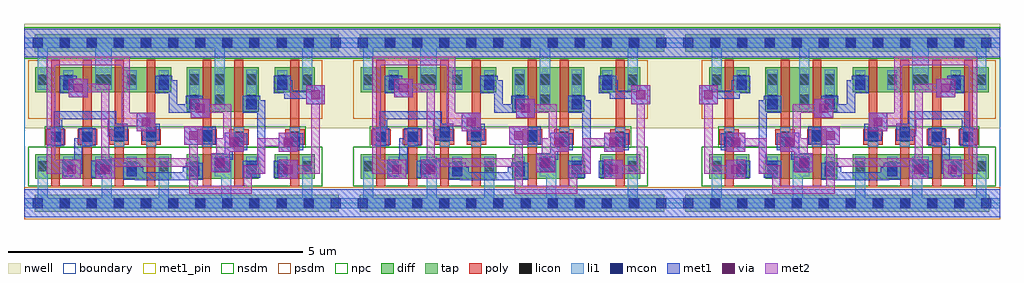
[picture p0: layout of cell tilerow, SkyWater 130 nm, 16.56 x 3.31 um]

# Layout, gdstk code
from math import pi, radians
import gdstk
lib = gdstk.Library(unit=1e-6, precision=1e-09)
def R(c, l, rs):  # rectangles x0, y0, x1, y1
    for r in rs: c.add(gdstk.rectangle(r[:2], r[2:], *l))
def A(c, l, x, y, w, h, nx, ny, dx, dy):  # array of equal rectangles
    R(c, l, [(x+i*dx, y+j*dy, x+i*dx+w, y+j*dy+h) for i in range(nx) for j in range(ny)])
nwell = (64, 20)
diff = (65, 20)
tap = (65, 44)
poly = (66, 20)
licon = (66, 44)
li1 = (67, 20)
mcon = (67, 44)
met1_pin = (68, 16)
met1 = (68, 20)
via = (68, 44)
met2 = (69, 20)
nsdm = (93, 44)
psdm = (94, 20)
npc = (95, 20)
boundary = (235, 4)

c_ha = lib.new_cell('ha')
R(c_ha, nwell, [(0,1.275,5.52,3.045)])
R(c_ha, diff, [(0.195,0.415,1.415,0.835), (1.275,0.415,2.495,0.835), (2.765,0.415,3.445,0.835), (3.305,0.415,3.985,0.835), (4.255,0.415,4.935,0.835), (2.765,1.555,3.985,2.305), (0.195,1.885,1.415,2.305), (1.275,1.885,2.495,2.305), (4.255,1.885,4.935,2.305)])
R(c_ha, tap, [(0.18,-0.145,5.34,0.145), (0.18,2.575,5.34,2.865)])
A(c_ha, poly, 0.46, 0.285, 0.15, 2.15, 4, 1, 0.54, 0)
A(c_ha, poly, 0.37, 0.99, 0.33, 0.27, 4, 1, 0.54, 0)
R(c_ha, poly, [(3.03,0.285,3.18,2.435), (3.57,0.285,3.72,2.435), (4.52,0.285,4.67,2.435), (2.94,0.99,3.27,1.26), (3.48,0.99,3.81,1.26), (4.43,0.99,4.76,1.26)])
A(c_ha, licon, 0.605, -0.085, 0.17, 0.17, 10, 2, 0.46, 2.72)
A(c_ha, licon, 0.45, 1.04, 0.17, 0.17, 4, 1, 0.54, 0)
R(c_ha, licon, [(0.235,0.54,0.405,0.71), (0.665,0.54,0.835,0.71), (1.205,0.54,1.375,0.71), (1.315,0.54,1.485,0.71), (1.745,0.54,1.915,0.71), (2.285,0.54,2.455,0.71), (2.805,0.54,2.975,0.71), (3.235,0.54,3.405,0.71), (3.345,0.54,3.515,0.71), (3.775,0.54,3.945,0.71), (4.295,0.54,4.465,0.71), (4.725,0.54,4.895,0.71), (3.02,1.04,3.19,1.21), (3.56,1.04,3.73,1.21), (4.51,1.04,4.68,1.21), (2.805,1.675,2.975,1.845), (3.235,1.675,3.405,1.845), (3.775,1.675,3.945,1.845), (0.235,2.01,0.405,2.18), (0.665,2.01,0.835,2.18), (1.205,2.01,1.375,2.18), (1.315,2.01,1.485,2.18), (1.745,2.01,1.915,2.18), (2.285,2.01,2.455,2.18), (4.295,2.01,4.465,2.18), (4.725,2.01,4.895,2.18), (2.805,2.015,2.975,2.185), (3.235,2.015,3.405,2.185), (3.775,2.015,3.945,2.185)])
A(c_ha, li1, 0.45, 0.96, 0.17, 0.33, 4, 1, 0.54, 0)
R(c_ha, li1, [(0,-0.085,5.52,0.085), (0.235,-0.085,0.405,0.79), (1.315,-0.085,1.485,0.79), (2.285,-0.085,2.455,0.79), (3.345,-0.085,3.515,0.79), (4.725,-0.085,4.895,0.79), (0.235,0.46,0.405,0.79), (0.665,0.46,0.835,0.79), (1.205,0.46,1.375,0.79), (1.315,0.46,1.485,0.79), (1.745,0.46,1.915,0.79), (2.285,0.46,2.455,0.79), (2.805,0.46,2.975,0.79), (3.235,0.46,3.405,0.79), (3.345,0.46,3.515,0.79), (3.775,0.46,3.945,0.79), (4.295,0.46,4.465,0.79), (4.725,0.46,4.895,0.79), (3.02,0.96,3.19,1.29), (3.56,0.96,3.73,1.29), (4.51,0.96,4.68,1.29), (2.805,1.595,2.975,2.265), (3.235,1.595,3.405,2.265), (3.235,1.595,3.405,2.805), (3.775,1.595,3.945,2.265), (0.235,1.93,0.405,2.26), (0.235,1.93,0.405,2.805), (0.665,1.93,0.835,2.26), (1.205,1.93,1.375,2.26), (1.205,1.93,1.375,2.805), (1.315,1.93,1.485,2.26), (1.315,1.93,1.485,2.805), (1.745,1.93,1.915,2.26), (2.285,1.93,2.455,2.26), (4.295,1.93,4.465,2.26), (4.725,1.93,4.895,2.26), (4.725,1.93,4.895,2.805), (0,2.635,5.52,2.805)])
A(c_ha, mcon, 0.145, -0.085, 0.17, 0.17, 12, 2, 0.46, 2.72)
R(c_ha, mcon, [(1.745,0.46,1.915,0.63), (2.805,0.46,2.975,0.63), (1.205,0.49,1.375,0.66), (3.775,0.49,3.945,0.66), (4.295,0.49,4.465,0.66), (3.235,0.605,3.405,0.775), (3.56,0.96,3.73,1.13), (4.51,0.96,4.68,1.13), (0.45,1.04,0.62,1.21), (0.99,1.04,1.16,1.21), (3.02,1.065,3.19,1.235), (1.53,1.12,1.7,1.29), (2.07,1.12,2.24,1.29), (2.805,1.595,2.975,1.765), (3.775,1.595,3.945,1.765), (0.665,1.93,0.835,2.1), (2.285,1.93,2.455,2.1), (4.295,1.93,4.465,2.1)])
R(c_ha, met1_pin, [(0,-0.24,5.52,0.24), (4.325,0.415,4.645,0.735), (3.715,0.43,4.005,0.72), (0.39,0.98,0.68,1.27), (0.93,0.98,1.22,1.27), (0,2.48,5.52,2.96)])
R(c_ha, met1, [(0,-0.24,5.52,0.24), (1.885,0.39,2.025,0.615), (1.885,0.39,2.83,0.53), (2.69,0.39,2.83,0.615), (1.685,0.4,1.975,0.69), (2.745,0.4,3.035,0.69), (0.645,0.415,0.965,0.735), (1.22,0.415,1.54,0.735), (4.325,0.415,4.645,0.735), (1.145,0.43,1.435,0.72), (3.715,0.43,4.005,0.72), (4.235,0.43,4.525,0.72), (1.76,0.475,2.025,0.615), (2.69,0.475,2.96,0.615), (0.735,0.505,0.99,0.645), (0.85,0.505,0.99,1.105), (1.22,0.505,1.45,0.645), (3.79,0.505,4.095,0.645), (3.955,0.505,4.095,1.565), (4.31,0.505,4.555,0.645), (3.175,0.53,3.495,0.85), (3.175,0.545,3.465,0.835), (3.25,0.62,3.405,0.76), (3.405,0.735,3.545,0.875), (3.405,0.835,3.465,0.875), (3.405,0.85,3.495,0.875), (3.405,0.875,3.725,1.195), (4.325,0.875,4.645,1.195), (3.5,0.9,3.79,1.19), (4.45,0.9,4.74,1.19), (0.85,0.965,1.105,1.105), (0.965,0.965,1.105,1.22), (3.495,0.965,3.635,1.115), (4.415,0.965,4.555,1.115), (3.495,0.975,3.715,1.115), (4.415,0.975,4.665,1.115), (0.39,0.98,0.68,1.27), (0.93,0.98,1.22,1.27), (2.715,0.99,3.035,1.31), (2.96,1.005,3.25,1.295), (1.47,1.06,1.76,1.35), (2.01,1.06,2.3,1.35), (0.505,1.08,0.645,1.22), (0.505,1.08,0.645,1.565), (0.965,1.08,1.105,1.22), (2.805,1.08,3.175,1.22), (1.425,1.135,1.685,1.275), (1.425,1.135,1.565,1.45), (2,1.135,2.14,1.45), (2,1.135,2.225,1.275), (1.91,1.22,2.23,1.54), (1.425,1.31,1.565,1.565), (0.505,1.425,1.565,1.565), (3.955,1.425,4.095,1.75), (2.83,1.45,3.15,1.77), (2.745,1.535,3.035,1.825), (3.715,1.535,4.005,1.825), (2.46,1.54,3.06,1.68), (2.46,1.54,2.6,1.91), (2.92,1.54,3.06,1.75), (2.82,1.61,3.06,1.75), (3.79,1.61,4.095,1.75), (4.785,1.68,5.105,2), (2.46,1.77,2.6,2.085), (4.415,1.77,4.555,2.085), (4.415,1.77,5.015,1.91), (0.76,1.795,1.08,2.115), (0.605,1.87,0.895,2.16), (2.225,1.87,2.515,2.16), (4.235,1.87,4.525,2.16), (0.85,1.885,0.99,2.085), (0.68,1.945,0.99,2.085), (2.3,1.945,2.6,2.085), (4.31,1.945,4.555,2.085), (0,2.48,5.52,2.96)])
R(c_ha, via, [(0.73,0.5,0.88,0.65), (1.305,0.5,1.455,0.65), (4.41,0.5,4.56,0.65), (3.26,0.615,3.41,0.765), (3.49,0.96,3.64,1.11), (4.41,0.96,4.56,1.11), (2.8,1.075,2.95,1.225), (1.995,1.305,2.145,1.455), (2.915,1.535,3.065,1.685), (4.87,1.765,5.02,1.915), (0.845,1.88,0.995,2.03)])
R(c_ha, met2, [(2.805,0.16,2.945,0.76), (2.805,0.16,3.865,0.3), (3.725,0.16,3.865,0.645), (0.645,0.415,0.965,0.735), (1.22,0.415,1.54,0.735), (4.325,0.415,4.645,0.735), (0.39,0.505,0.875,0.645), (0.39,0.505,0.53,2.485), (0.53,0.505,0.645,0.735), (1.31,0.505,1.45,0.76), (3.725,0.505,4.095,0.645), (3.955,0.505,4.095,1.105), (4.415,0.505,5.015,0.645), (4.875,0.505,5.015,1.91), (3.175,0.53,3.495,0.85), (1.31,0.62,2.945,0.76), (1.31,0.62,1.45,2.025), (2.805,0.62,2.945,1.22), (3.265,0.62,3.405,1.105), (3.265,0.85,3.495,0.965), (3.405,0.85,3.495,0.875), (3.405,0.875,3.725,1.195), (4.325,0.875,4.645,1.195), (3.265,0.965,3.635,1.105), (3.38,0.965,3.52,1.68), (3.955,0.965,4.555,1.105), (2.715,0.99,3.035,1.31), (1.91,1.22,2.23,1.54), (1.655,1.31,2.14,1.45), (1.655,1.31,1.795,2.485), (1.795,1.31,1.91,1.54), (2.83,1.45,3.15,1.77), (2.92,1.54,3.52,1.68), (4.785,1.68,5.105,2), (0.76,1.795,1.08,2.115), (0.85,1.885,1.45,2.025), (0.39,2.345,1.795,2.485)])
R(c_ha, nsdm, [(0.07,0.29,5.06,0.96), (0,2.45,5.52,2.99)])
R(c_ha, psdm, [(0,-0.27,5.52,0.27), (0.07,1.43,5.06,2.43)])
R(c_ha, npc, [(0.35,0.94,4.78,1.31)])
R(c_ha, boundary, [(0,0,5.52,2.72)])
c_ha.add(gdstk.Label('n2', (0.75,0.625), layer=67, texttype=5))
c_ha.add(gdstk.Label('n1', (1.29,0.625), layer=67, texttype=5))
c_ha.add(gdstk.Label('n4', (1.83,0.625), layer=67, texttype=5))
c_ha.add(gdstk.Label('n3', (3.32,0.625), layer=67, texttype=5))
c_ha.add(gdstk.Label('n5', (1.83,2.095), layer=67, texttype=5))
c_ha.add(gdstk.Label('A', (0.535,1.125), layer=68, texttype=5))
c_ha.add(gdstk.Label('B', (1.075,1.125), layer=68, texttype=5))
c_ha.add(gdstk.Label('COUT', (4.485,0.575), layer=68, texttype=5))
c_ha.add(gdstk.Label('SUM', (3.86,0.575), layer=68, texttype=5))
c_ha.add(gdstk.Label('VPWR', (2.76,2.72), layer=68, texttype=5))
c_ha.add(gdstk.Label('VGND', (2.76,0), layer=68, texttype=5))
c_ha.add(gdstk.Label('A', (0.535,1.125), layer=68, texttype=16))
c_ha.add(gdstk.Label('B', (1.075,1.125), layer=68, texttype=16))
c_ha.add(gdstk.Label('COUT', (4.485,0.575), layer=68, texttype=16))
c_ha.add(gdstk.Label('SUM', (3.86,0.575), layer=68, texttype=16))
c_ha.add(gdstk.Label('VPWR', (2.76,2.72), layer=68, texttype=16))
c_ha.add(gdstk.Label('VGND', (2.76,0), layer=68, texttype=16))

tilerow = lib.new_cell('tilerow')
tilerow.add(gdstk.Reference(c_ha, (0,0)))
tilerow.add(gdstk.Reference(c_ha, (5.52,0)))
tilerow.add(gdstk.Reference(c_ha, (16.56,0), rotation=pi, x_reflection=True))

lib.write_gds('tilerow.gds')
